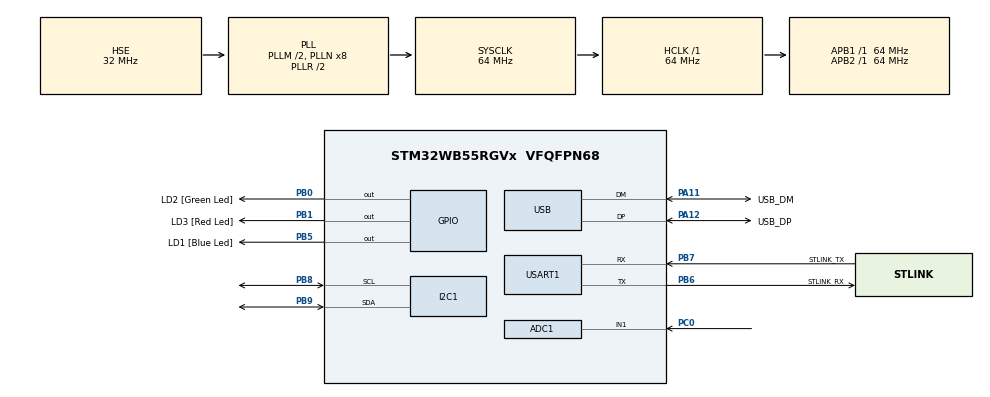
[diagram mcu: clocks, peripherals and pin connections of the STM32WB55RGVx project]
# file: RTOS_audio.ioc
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ADC1.Channel-0\#ChannelRegularConversion=ADC_CHANNEL_1
ADC1.ContinuousConvMode=ENABLE
ADC1.DMAContinuousRequests=ENABLE
ADC1.NbrOfConversionFlag=1
ADC1.OffsetNumber-0\#ChannelRegularConversion=ADC_OFFSET_NONE
ADC1.Rank-0\#ChannelRegularConversion=1
ADC1.SamplingTime-0\#ChannelRegularConversion=ADC_SAMPLETIME_247CYCLES_5
ADC1.master=1
Dma.ADC1.0.Direction=DMA_PERIPH_TO_MEMORY
Dma.ADC1.0.EventEnable=DISABLE
Dma.ADC1.0.Instance=DMA1_Channel1
Dma.ADC1.0.MemDataAlignment=DMA_MDATAALIGN_HALFWORD
Dma.ADC1.0.MemInc=DMA_MINC_ENABLE
Dma.ADC1.0.Mode=DMA_CIRCULAR
Dma.ADC1.0.PeriphDataAlignment=DMA_PDATAALIGN_HALFWORD
Dma.ADC1.0.PeriphInc=DMA_PINC_DISABLE
Dma.ADC1.0.Polarity=HAL_DMAMUX_REQ_GEN_RISING
Dma.ADC1.0.Priority=DMA_PRIORITY_LOW
Dma.ADC1.0.RequestNumber=1
Dma.ADC1.0.SignalID=NONE
Dma.ADC1.0.SyncEnable=DISABLE
Dma.ADC1.0.SyncPolarity=HAL_DMAMUX_SYNC_NO_EVENT
Dma.ADC1.0.SyncRequestNumber=1
Dma.ADC1.0.SyncSignalID=NONE
Dma.Request0=ADC1
FREERTOS.Mutexes01=TransmitMutex,Dynamic,NULL,Available
FREERTOS.Queues01=AudioQueue,2000,uint16_t,0,Dynamic,NULL,NULL
FREERTOS.Tasks01=Task1,24,1024,task1_handler,Default,NULL,Dynamic,NULL,NULL
FREERTOS.configTICK_RATE_HZ=800
FREERTOS.configTOTAL_HEAP_SIZE=32768
FREERTOS.configUSE_NEWLIB_REENTRANT=1
FREERTOS.configUSE_TIMERS=1
I2C1.Timing=0x10B17DB5
Mcu.Family=STM32WB
Mcu.Name=STM32WB55RGVx
Mcu.Package=VFQFPN68
NVIC.ADC1_IRQn=true\:5\:0\:false\:false\:true\:true\:true\:true\:true
NVIC.DMA1_Channel1_IRQn=true\:5\:0\:false\:false\:true\:true\:false\:true\:true
NVIC.PriorityGroup=NVIC_PRIORITYGROUP_4
NVIC.TIM1_UP_TIM16_IRQn=true\:15\:0\:false\:false\:true\:false\:false\:true\:true
NVIC.TIM2_IRQn=true\:5\:0\:false\:false\:true\:true\:true\:true\:true
NVIC.TimeBase=TIM1_UP_TIM16_IRQn
NVIC.TimeBaseIP=TIM1
NVIC.USB_LP_IRQn=true\:5\:0\:false\:false\:true\:true\:false\:true\:true
OSC_IN.GPIO_Label=RCC_OSC_IN
OSC_IN.Mode=HSE-External-Oscillator
OSC_IN.Signal=RCC_OSC_IN
OSC_OUT.GPIO_Label=RCC_OSC_OUT
OSC_OUT.Mode=HSE-External-Oscillator
OSC_OUT.Signal=RCC_OSC_OUT
PA11.GPIO_Label=USB_DM
PA11.Mode=Device
PA11.Signal=USB_DM
PA12.GPIO_Label=USB_DP
PA12.Mode=Device
PA12.Signal=USB_DP
PB0.GPIO_Label=LD2 [Green Led]
PB0.Signal=GPIO_Output
PB1.GPIO_Label=LD3 [Red Led]
PB1.Signal=GPIO_Output
PB5.GPIO_Label=LD1 [Blue Led]
PB5.Signal=GPIO_Output
PB6.GPIO_Label=STLINK_RX
PB6.Mode=Asynchronous
PB6.Signal=USART1_TX
PB7.GPIO_Label=STLINK_TX
PB7.Mode=Asynchronous
PB7.Signal=USART1_RX
PB8.Mode=I2C
PB8.Signal=I2C1_SCL
PB9.Mode=I2C
PB9.Signal=I2C1_SDA
PC0.Signal=ADCx_IN1
PC14-OSC32_IN.GPIO_Label=RCC_OSC32_IN
PC14-OSC32_IN.Mode=LSE-External-Oscillator
PC14-OSC32_IN.Signal=RCC_OSC32_IN
PC15-OSC32_OUT.GPIO_Label=RCC_OSC32_OUT
PC15-OSC32_OUT.Mode=LSE-External-Oscillator
PC15-OSC32_OUT.Signal=RCC_OSC32_OUT
ProjectManager.HeapSize=0x200
ProjectManager.StackSize=0x400
ProjectManager.TargetToolchain=STM32CubeIDE
RCC.ADCFreq_Value=48000000
RCC.AHB2CLKDivider=RCC_SYSCLK_DIV2
RCC.AHBFreq_Value=64000000
RCC.APB1Freq_Value=64000000
RCC.APB1TimFreq_Value=64000000
RCC.APB2Freq_Value=64000000
RCC.APB2TimFreq_Value=64000000
RCC.APB3Freq_Value=16000000
RCC.CortexFreq_Value=64000000
RCC.HCLKFreq_Value=64000000
RCC.HSE_VALUE=32000000
RCC.HSI48_VALUE=48000000
RCC.HSI_VALUE=16000000
RCC.PLLM=RCC_PLLM_DIV2
RCC.PLLSAI1N=6
RCC.PLLSourceVirtual=RCC_PLLSOURCE_HSE
RCC.SMPSCLockSelection=RCC_SMPSCLKSOURCE_HSI
RCC.SMPSCLockSelectionVirtual=RCC_SMPSCLKSOURCE_HSI
RCC.SMPSCLockSelectionVirtualVirtual=RCC_SMPSCLKSOURCE_HSI
RCC.SMPSDivider=1
RCC.SYSCLKFreq_VALUE=64000000
RCC.SYSCLKSource=RCC_SYSCLKSOURCE_PLLCLK
RCC.USBFreq_Value=48000000
RCC.VCOOutputFreq_Value=128000000
SH.ADCx_IN1.0=ADC1_IN1,IN1-Single-Ended
TIM2.AutoReloadPreload=TIM_AUTORELOAD_PRELOAD_ENABLE
TIM2.Period=16000-1
TIM2.TIM_MasterOutputTrigger=TIM_TRGO_UPDATE
USART1.VirtualMode-Asynchronous=VM_ASYNC
USB_DEVICE.CLASS_NAME_FS=CDC
USB_DEVICE.USBD_DEBUG_LEVEL=2
USB_DEVICE.VirtualMode=Cdc
USB_DEVICE.VirtualModeFS=Cdc_FS
VP_FREERTOS_VS_CMSIS_V2.Mode=CMSIS_V2
VP_MEMORYMAP_VS_MEMORYMAP.Mode=CurAppReg
VP_SYS_VS_tim1.Mode=TIM1
VP_TIM2_VS_ClockSourceINT.Mode=Internal
VP_USB_DEVICE_VS_USB_DEVICE_CDC_FS.Mode=CDC_FS
board=NUCLEO-WB55RG

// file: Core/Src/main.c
/* USER CODE BEGIN Header */
/**
  ******************************************************************************
  * @file           : main.c
  * @brief          : Main program body
  ******************************************************************************
  * @attention
  *
  * Copyright (c) 2025 STMicroelectronics.
  * All rights reserved.
  *
  * This software is licensed under terms that can be found in the LICENSE file
  * in the root directory of this software component.
  * If no LICENSE file comes with this software, it is provided AS-IS.
  *
  ******************************************************************************
  */
/* USER CODE END Header */
#include "main.h"
#include "cmsis_os.h"
#include "usb_device.h"

/* USER CODE BEGIN Includes */
#include <stdio.h>
#include <stdint.h>
#include <string.h>
/* USER CODE END Includes */

ADC_HandleTypeDef hadc1;
DMA_HandleTypeDef hdma_adc1;

I2C_HandleTypeDef hi2c1;

TIM_HandleTypeDef htim2;

UART_HandleTypeDef huart1;

/* Definitions for Task1 */
osThreadId_t Task1Handle;
const osThreadAttr_t Task1_attributes = {
  .name = "Task1",
  .priority = (osPriority_t) osPriorityNormal,
  .stack_size = 1024 * 4
};
/* Definitions for AudioQueue */
osMessageQueueId_t AudioQueueHandle;
const osMessageQueueAttr_t AudioQueue_attributes = {
  .name = "AudioQueue"
};
/* Definitions for TransmitMutex */
osMutexId_t TransmitMutexHandle;
const osMutexAttr_t TransmitMutex_attributes = {
  .name = "TransmitMutex"
};
/* USER CODE BEGIN PV */
char msg[50];
uint16_t ADC_reading = 0;
/* USER CODE END PV */

void SystemClock_Config(void);
void PeriphCommonClock_Config(void);
static void MX_GPIO_Init(void);
static void MX_DMA_Init(void);
static void MX_ADC1_Init(void);
static void MX_I2C1_Init(void);
static void MX_TIM2_Init(void);
static void MX_USART1_UART_Init(void);
void task1_handler(void *argument);

/* USER CODE BEGIN PFP */
void USB_transmit(uint8_t *USB_buffer, size_t length);

/* USER CODE END PFP */

/* USER CODE BEGIN 0 */
void USB_transmit(uint8_t *USB_buffer, size_t length){
	osStatus_t status;

	osMutexAcquire(TransmitMutexHandle, osWaitForever);
	status = CDC_Transmit_FS(USB_buffer, length);
	osMutexRelease(TransmitMutexHandle);

	if (status != osOK){
		HAL_GPIO_TogglePin(LD3_GPIO_Port, LD3_Pin);
		//HAL_GPIO_WritePin(LD3_GPIO_Port, LD3_Pin, GPIO_PIN_SET);
		//sprintf(msg, "Error, status code: %d \r\n", status);
		//sprintf(msg, "Error");
		//HAL_UART_Transmit(&huart1, (uint8_t *) msg, strlen(msg), HAL_MAX_DELAY);

	}
}
void update_data_packet_audio_buffered(uint16_t var1, uint8_t *buffer, size_t *length) {
    // Define the start byte
	if (*length == 0){
		buffer[0] = (uint8_t)-128;
		(*length)++;
	}
    memcpy(&buffer[*length], &var1, sizeof(uint16_t));

    // Set the total length of the packet
    (*length) += sizeof(uint16_t);
}
/* USER CODE END 0 */

int main(void)
{

  /* MCU Configuration--------------------------------------------------------*/

  /* Reset of all peripherals, Initializes the Flash interface and the Systick. */
  HAL_Init();

  /* Configure the system clock */
  SystemClock_Config();

  /* Configure the peripherals common clocks */
  PeriphCommonClock_Config();

  /* Initialize all configured peripherals */
  MX_GPIO_Init();
  MX_DMA_Init();
  MX_ADC1_Init();
  MX_I2C1_Init();
  MX_TIM2_Init();
  MX_USART1_UART_Init();
  /* USER CODE BEGIN 2 */
  HAL_GPIO_WritePin(LD1_GPIO_Port, LD1_Pin, GPIO_PIN_SET);
  HAL_ADC_Start_DMA(&hadc1, (uint32_t*)&ADC_reading, 1);
  HAL_TIM_Base_Start_IT(&htim2);

  /* USER CODE END 2 */

  /* Init scheduler */
  osKernelInitialize();
  /* Create the mutex(es) */
  /* creation of TransmitMutex */
  TransmitMutexHandle = osMutexNew(&TransmitMutex_attributes);

  /* Create the queue(s) */
  /* creation of AudioQueue */
  AudioQueueHandle = osMessageQueueNew (2000, sizeof(uint16_t), &AudioQueue_attributes);

  /* Create the thread(s) */
  /* creation of Task1 */
  Task1Handle = osThreadNew(task1_handler, NULL, &Task1_attributes);

  /* Start scheduler */
  osKernelStart();

  /* We should never get here as control is now taken by the scheduler */

  /* Infinite loop */
  while (1)
  {

  }
}

void SystemClock_Config(void)
{
  RCC_OscInitTypeDef RCC_OscInitStruct = {0};
  RCC_ClkInitTypeDef RCC_ClkInitStruct = {0};

  /** Configure the main internal regulator output voltage
  */
  __HAL_PWR_VOLTAGESCALING_CONFIG(PWR_REGULATOR_VOLTAGE_SCALE1);

  /** Initializes the RCC Oscillators according to the specified parameters
  * in the RCC_OscInitTypeDef structure.
  */
  RCC_OscInitStruct.OscillatorType = RCC_OSCILLATORTYPE_HSI|RCC_OSCILLATORTYPE_HSE;
  RCC_OscInitStruct.HSEState = RCC_HSE_ON;
  RCC_OscInitStruct.HSIState = RCC_HSI_ON;
  RCC_OscInitStruct.HSICalibrationValue = RCC_HSICALIBRATION_DEFAULT;
  RCC_OscInitStruct.PLL.PLLState = RCC_PLL_ON;
  RCC_OscInitStruct.PLL.PLLSource = RCC_PLLSOURCE_HSE;
  RCC_OscInitStruct.PLL.PLLM = RCC_PLLM_DIV2;
  RCC_OscInitStruct.PLL.PLLN = 8;
  RCC_OscInitStruct.PLL.PLLP = RCC_PLLP_DIV2;
  RCC_OscInitStruct.PLL.PLLR = RCC_PLLR_DIV2;
  RCC_OscInitStruct.PLL.PLLQ = RCC_PLLQ_DIV2;
  if (HAL_RCC_OscConfig(&RCC_OscInitStruct) != HAL_OK)
  {
    Error_Handler();
  }

  /** Configure the SYSCLKSource, HCLK, PCLK1 and PCLK2 clocks dividers
  */
  RCC_ClkInitStruct.ClockType = RCC_CLOCKTYPE_HCLK4|RCC_CLOCKTYPE_HCLK2
                              |RCC_CLOCKTYPE_HCLK|RCC_CLOCKTYPE_SYSCLK
                              |RCC_CLOCKTYPE_PCLK1|RCC_CLOCKTYPE_PCLK2;
  RCC_ClkInitStruct.SYSCLKSource = RCC_SYSCLKSOURCE_PLLCLK;
  RCC_ClkInitStruct.AHBCLKDivider = RCC_SYSCLK_DIV1;
  RCC_ClkInitStruct.APB1CLKDivider = RCC_HCLK_DIV1;
  RCC_ClkInitStruct.APB2CLKDivider = RCC_HCLK_DIV1;
  RCC_ClkInitStruct.AHBCLK2Divider = RCC_SYSCLK_DIV2;
  RCC_ClkInitStruct.AHBCLK4Divider = RCC_SYSCLK_DIV1;

  if (HAL_RCC_ClockConfig(&RCC_ClkInitStruct, FLASH_LATENCY_3) != HAL_OK)
  {
    Error_Handler();
  }
}

void PeriphCommonClock_Config(void)
{
  RCC_PeriphCLKInitTypeDef PeriphClkInitStruct = {0};

  /** Initializes the peripherals clock
  */
  PeriphClkInitStruct.PeriphClockSelection = RCC_PERIPHCLK_SMPS|RCC_PERIPHCLK_USB
                              |RCC_PERIPHCLK_ADC;
  PeriphClkInitStruct.PLLSAI1.PLLN = 6;
  PeriphClkInitStruct.PLLSAI1.PLLP = RCC_PLLP_DIV2;
  PeriphClkInitStruct.PLLSAI1.PLLQ = RCC_PLLQ_DIV2;
  PeriphClkInitStruct.PLLSAI1.PLLR = RCC_PLLR_DIV2;
  PeriphClkInitStruct.PLLSAI1.PLLSAI1ClockOut = RCC_PLLSAI1_USBCLK|RCC_PLLSAI1_ADCCLK;
  PeriphClkInitStruct.UsbClockSelection = RCC_USBCLKSOURCE_PLLSAI1;
  PeriphClkInitStruct.AdcClockSelection = RCC_ADCCLKSOURCE_PLLSAI1;
  PeriphClkInitStruct.SmpsClockSelection = RCC_SMPSCLKSOURCE_HSI;
  PeriphClkInitStruct.SmpsDivSelection = RCC_SMPSCLKDIV_RANGE0;

  if (HAL_RCCEx_PeriphCLKConfig(&PeriphClkInitStruct) != HAL_OK)
  {
    Error_Handler();
  }
}

static void MX_ADC1_Init(void)
{

  ADC_ChannelConfTypeDef sConfig = {0};

  /** Common config
  */
  hadc1.Instance = ADC1;
  hadc1.Init.ClockPrescaler = ADC_CLOCK_ASYNC_DIV1;
  hadc1.Init.Resolution = ADC_RESOLUTION_12B;
  hadc1.Init.DataAlign = ADC_DATAALIGN_RIGHT;
  hadc1.Init.ScanConvMode = ADC_SCAN_DISABLE;
  hadc1.Init.EOCSelection = ADC_EOC_SINGLE_CONV;
  hadc1.Init.LowPowerAutoWait = DISABLE;
  hadc1.Init.ContinuousConvMode = ENABLE;
  hadc1.Init.NbrOfConversion = 1;
  hadc1.Init.DiscontinuousConvMode = DISABLE;
  hadc1.Init.ExternalTrigConv = ADC_SOFTWARE_START;
  hadc1.Init.ExternalTrigConvEdge = ADC_EXTERNALTRIGCONVEDGE_NONE;
  hadc1.Init.DMAContinuousRequests = ENABLE;
  hadc1.Init.Overrun = ADC_OVR_DATA_PRESERVED;
  hadc1.Init.OversamplingMode = DISABLE;
  if (HAL_ADC_Init(&hadc1) != HAL_OK)
  {
    Error_Handler();
  }

  /** Configure Regular Channel
  */
  sConfig.Channel = ADC_CHANNEL_1;
  sConfig.Rank = ADC_REGULAR_RANK_1;
  sConfig.SamplingTime = ADC_SAMPLETIME_247CYCLES_5;
  sConfig.SingleDiff = ADC_SINGLE_ENDED;
  sConfig.OffsetNumber = ADC_OFFSET_NONE;
  sConfig.Offset = 0;
  if (HAL_ADC_ConfigChannel(&hadc1, &sConfig) != HAL_OK)
  {
    Error_Handler();
  }

}

static void MX_I2C1_Init(void)
{

  hi2c1.Instance = I2C1;
  hi2c1.Init.Timing = 0x10B17DB5;
  hi2c1.Init.OwnAddress1 = 0;
  hi2c1.Init.AddressingMode = I2C_ADDRESSINGMODE_7BIT;
  hi2c1.Init.DualAddressMode = I2C_DUALADDRESS_DISABLE;
  hi2c1.Init.OwnAddress2 = 0;
  hi2c1.Init.OwnAddress2Masks = I2C_OA2_NOMASK;
  hi2c1.Init.GeneralCallMode = I2C_GENERALCALL_DISABLE;
  hi2c1.Init.NoStretchMode = I2C_NOSTRETCH_DISABLE;
  if (HAL_I2C_Init(&hi2c1) != HAL_OK)
  {
    Error_Handler();
  }

  /** Configure Analogue filter
  */
  if (HAL_I2CEx_ConfigAnalogFilter(&hi2c1, I2C_ANALOGFILTER_ENABLE) != HAL_OK)
  {
    Error_Handler();
  }

  /** Configure Digital filter
  */
  if (HAL_I2CEx_ConfigDigitalFilter(&hi2c1, 0) != HAL_OK)
  {
    Error_Handler();
  }

}

static void MX_TIM2_Init(void)
{

  TIM_ClockConfigTypeDef sClockSourceConfig = {0};
  TIM_MasterConfigTypeDef sMasterConfig = {0};

  htim2.Instance = TIM2;
  htim2.Init.Prescaler = 0;
  htim2.Init.CounterMode = TIM_COUNTERMODE_UP;
  htim2.Init.Period = 16000-1;
  htim2.Init.ClockDivision = TIM_CLOCKDIVISION_DIV1;
  htim2.Init.AutoReloadPreload = TIM_AUTORELOAD_PRELOAD_ENABLE;
  if (HAL_TIM_Base_Init(&htim2) != HAL_OK)
  {
    Error_Handler();
  }
  sClockSourceConfig.ClockSource = TIM_CLOCKSOURCE_INTERNAL;
  if (HAL_TIM_ConfigClockSource(&htim2, &sClockSourceConfig) != HAL_OK)
  {
    Error_Handler();
  }
  sMasterConfig.MasterOutputTrigger = TIM_TRGO_UPDATE;
  sMasterConfig.MasterSlaveMode = TIM_MASTERSLAVEMODE_DISABLE;
  if (HAL_TIMEx_MasterConfigSynchronization(&htim2, &sMasterConfig) != HAL_OK)
  {
    Error_Handler();
  }

}

static void MX_USART1_UART_Init(void)
{

  huart1.Instance = USART1;
  huart1.Init.BaudRate = 115200;
  huart1.Init.WordLength = UART_WORDLENGTH_8B;
  huart1.Init.StopBits = UART_STOPBITS_1;
  huart1.Init.Parity = UART_PARITY_NONE;
  huart1.Init.Mode = UART_MODE_TX_RX;
  huart1.Init.HwFlowCtl = UART_HWCONTROL_NONE;
  huart1.Init.OverSampling = UART_OVERSAMPLING_16;
  huart1.Init.OneBitSampling = UART_ONE_BIT_SAMPLE_DISABLE;
  huart1.Init.ClockPrescaler = UART_PRESCALER_DIV1;
  huart1.AdvancedInit.AdvFeatureInit = UART_ADVFEATURE_NO_INIT;
  if (HAL_UART_Init(&huart1) != HAL_OK)
  {
    Error_Handler();
  }
  if (HAL_UARTEx_SetTxFifoThreshold(&huart1, UART_TXFIFO_THRESHOLD_1_8) != HAL_OK)
  {
    Error_Handler();
  }
  if (HAL_UARTEx_SetRxFifoThreshold(&huart1, UART_RXFIFO_THRESHOLD_1_8) != HAL_OK)
  {
    Error_Handler();
  }
  if (HAL_UARTEx_DisableFifoMode(&huart1) != HAL_OK)
  {
    Error_Handler();
  }

}

static void MX_DMA_Init(void)
{

  /* DMA controller clock enable */
  __HAL_RCC_DMAMUX1_CLK_ENABLE();
  __HAL_RCC_DMA1_CLK_ENABLE();

  /* DMA interrupt init */
  /* DMA1_Channel1_IRQn interrupt configuration */
  HAL_NVIC_SetPriority(DMA1_Channel1_IRQn, 5, 0);
  HAL_NVIC_EnableIRQ(DMA1_Channel1_IRQn);

}

static void MX_GPIO_Init(void)
{
  GPIO_InitTypeDef GPIO_InitStruct = {0};

  /* GPIO Ports Clock Enable */
  __HAL_RCC_GPIOC_CLK_ENABLE();
  __HAL_RCC_GPIOB_CLK_ENABLE();
  __HAL_RCC_GPIOA_CLK_ENABLE();

  /*Configure GPIO pin Output Level */
  HAL_GPIO_WritePin(GPIOB, LD2_Pin|LD3_Pin|LD1_Pin, GPIO_PIN_RESET);

  /*Configure GPIO pins : LD2_Pin LD3_Pin LD1_Pin */
  GPIO_InitStruct.Pin = LD2_Pin|LD3_Pin|LD1_Pin;
  GPIO_InitStruct.Mode = GPIO_MODE_OUTPUT_PP;
  GPIO_InitStruct.Pull = GPIO_NOPULL;
  GPIO_InitStruct.Speed = GPIO_SPEED_FREQ_LOW;
  HAL_GPIO_Init(GPIOB, &GPIO_InitStruct);

}

void task1_handler(void *argument)
{
  /* init code for USB_Device */
  MX_USB_Device_Init();
  /* USER CODE BEGIN 5 */
  uint16_t sample;
  uint8_t USB_buffer[2000];
  size_t length = 0;
  uint16_t test = 0;

  /* Infinite loop */
  for(;;)
  {
	  osThreadFlagsWait(0x01, osFlagsWaitAny, osWaitForever);
	  //sprintf(msg, "task1_unblocked \r\n\n");
	  //HAL_UART_Transmit(&huart1, (uint8_t *) msg, strlen(msg), HAL_MAX_DELAY);
	  HAL_GPIO_TogglePin(LD2_GPIO_Port, LD2_Pin);

//	  test = osMessageQueueGetCount(AudioQueueHandle);
//	  sprintf(msg, "queue accessed - %d in queue\r\n", test);
//	  HAL_UART_Transmit(&huart1, (uint8_t *) msg, strlen(msg), HAL_MAX_DELAY);

	  for(uint16_t i = 0; i < AUDIO_PACKET_SIZE; i++)
	  {
		  osMessageQueueGet(AudioQueueHandle, &sample, NULL, osWaitForever);
		  //sprintf(msg, "queue gotten - %d \r\n", sample);
		  //HAL_UART_Transmit(&huart1, (uint8_t *) msg, strlen(msg), HAL_MAX_DELAY);
		  update_data_packet_audio_buffered(sample,USB_buffer,&length);
	  }

	  USB_transmit(USB_buffer, length);
	  length = 0;

	  //sprintf(msg, "task1_finished \r\n\n");
	  //HAL_UART_Transmit(&huart1, (uint8_t *) msg, strlen(msg), HAL_MAX_DELAY);
  }
  /* USER CODE END 5 */
}

void HAL_TIM_PeriodElapsedCallback(TIM_HandleTypeDef *htim)
{
  if (htim->Instance == TIM1) {
    HAL_IncTick();
  }
  /* USER CODE BEGIN Callback 1 */
  if (htim->Instance == TIM2) {
	static uint16_t sample_count = 0;

	// Add to queue
	//osMessageQueuePut(AudioQueueHandle, (const void*)&ADC_reading, 0, 0);
	osMessageQueuePut(AudioQueueHandle, (const void*)&sample_count, 0, 0);

	//sprintf(msg, "Put on queue - %d \r\n", sample_count);
	//HAL_UART_Transmit(&huart1, (uint8_t *) msg, strlen(msg), HAL_MAX_DELAY);

	sample_count++;

	// Use the local counter to determine when to signal
	if(sample_count == AUDIO_PACKET_SIZE)
	{
		sample_count = 0;
		osThreadFlagsSet(Task1Handle, 0x01);
	}
  }
  /* USER CODE END Callback 1 */
}

void Error_Handler(void)
{
  __disable_irq();
  while (1)
  {
  }
}
